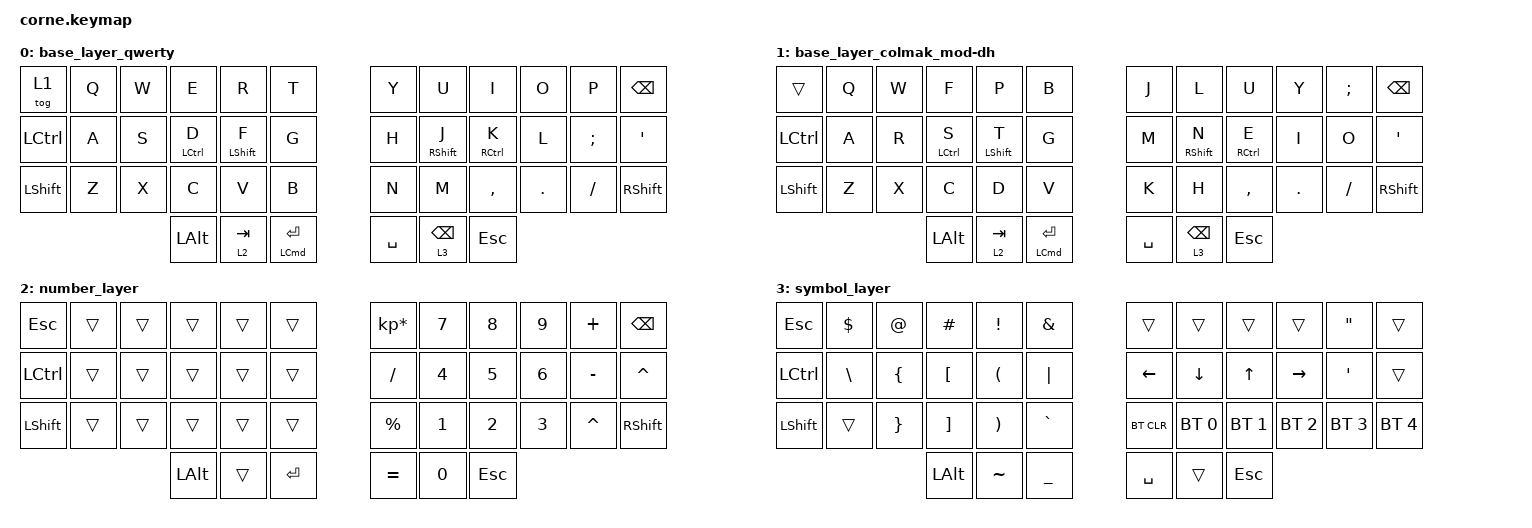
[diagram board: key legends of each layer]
/*
 * Copyright (c) 2020 The ZMK Contributors
 *
 * SPDX-License-Identifier: MIT
 */

#include <behaviors.dtsi>
#include <dt-bindings/zmk/keys.h>
#include <dt-bindings/zmk/bt.h>

/ {
// V2

keymap {
  compatible = "zmk,keymap";

  // 0
  base_layer_qwerty {
    bindings = <
&tog 1      &kp Q   &kp W     &kp E       &kp R         &kp T         &kp Y       &kp U         &kp I       &kp O     &kp P     &kp BSPC
&kp LCTRL   &kp A   &kp S     &mt LCTRL D &mt LSHIFT F  &kp G         &kp H       &mt RSHIFT J  &mt RCTRL K &kp L     &kp SEMI  &kp SQT
&kp LSHFT   &kp Z   &kp X     &kp C       &kp V         &kp B         &kp N       &kp M         &kp COMMA   &kp DOT   &kp FSLH  &kp RSHFT 
                              &kp LALT    &lt 2 TAB     &mt LCMD RET       &kp SPACE   &lt 3 BSPC    &kp ESC
    >;
  };

  // 1
  base_layer_colmak_mod-dh {
    bindings = <
&trans      &kp Q   &kp W     &kp F       &kp P         &kp B         &kp J       &kp L         &kp U       &kp Y     &kp SEMI   &kp BSPC
&kp LCTRL   &kp A   &kp R     &mt LCTRL S &mt LSHIFT T  &kp G         &kp M       &mt RSHIFT N  &mt RCTRL E &kp I     &kp O      &kp SQT
&kp LSHFT   &kp Z   &kp X     &kp C       &kp D         &kp V         &kp K       &kp H         &kp COMMA   &kp DOT   &kp FSLH  &kp RSHFT 
                              &kp LALT    &lt 2 TAB     &mt LCMD RET       &kp SPACE   &lt 3 BSPC    &kp ESC
    >;
  };

  // 2
  number_layer {
    bindings = <
&kp ESC     &trans  &trans  &trans    &trans    &trans      &kp KP_MULTIPLY &kp N7  &kp N8  &kp N9  &kp PLUS  &kp BSPC
&kp LCTRL   &trans  &trans  &trans    &trans    &trans      &kp FSLH        &kp N4  &kp N5  &kp N6  &kp MINUS &kp CARET
&kp LSHIFT  &trans  &trans  &trans    &trans    &trans      &kp PRCNT       &kp N1  &kp N2  &kp N3  &kp CARET &kp RSHFT 
                            &kp LALT  &trans    &kp RET     &kp EQUAL       &kp N0  &kp ESC
    >;
  };

  // 3
  symbol_layer {
    bindings = <
&kp ESC     &kp DLLR  &kp AT    &kp HASH  &kp EXCL  &kp AMPS        &trans     &trans       &trans       &trans       &kp DQT      &trans 
&kp LCTRL   &kp BSLH  &kp LBRC  &kp LBKT  &kp LPAR  &kp PIPE        &kp LEFT   &kp DOWN     &kp UP       &kp RIGHT    &kp SQT      &trans 
&kp LSHIFT  &trans    &kp RBRC  &kp RBKT  &kp RPAR  &kp GRAVE       &bt BT_CLR &bt BT_SEL 0 &bt BT_SEL 1 &bt BT_SEL 2 &bt BT_SEL 3 &bt BT_SEL 4
                                &kp LALT  &kp TILDE &kp UNDER       &kp SPACE  &trans       &kp ESC
    >;
  };

};};

